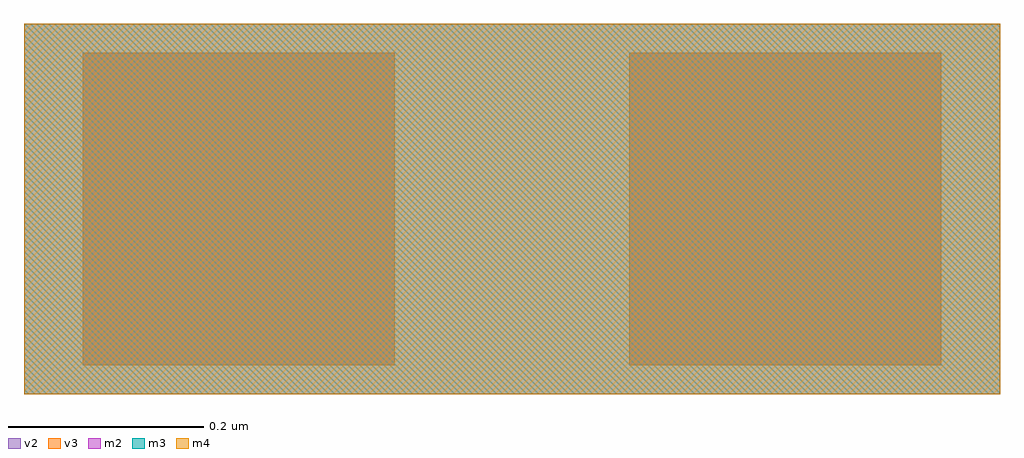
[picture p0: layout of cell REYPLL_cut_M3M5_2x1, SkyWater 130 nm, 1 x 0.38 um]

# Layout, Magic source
magic
tech sky130A
magscale 1 2
<< m2 >>
rect 0 0 200 76
<< v2 >>
rect 12 6 76 70
rect 124 6 188 70
<< m3 >>
rect 0 0 200 76
<< v3 >>
rect 12 6 76 70
rect 124 6 188 70
<< m4 >>
rect 0 0 200 76
<< labels >>
<< properties >>
string FIXED_BBOX 0 0 200 76
<< end >>
